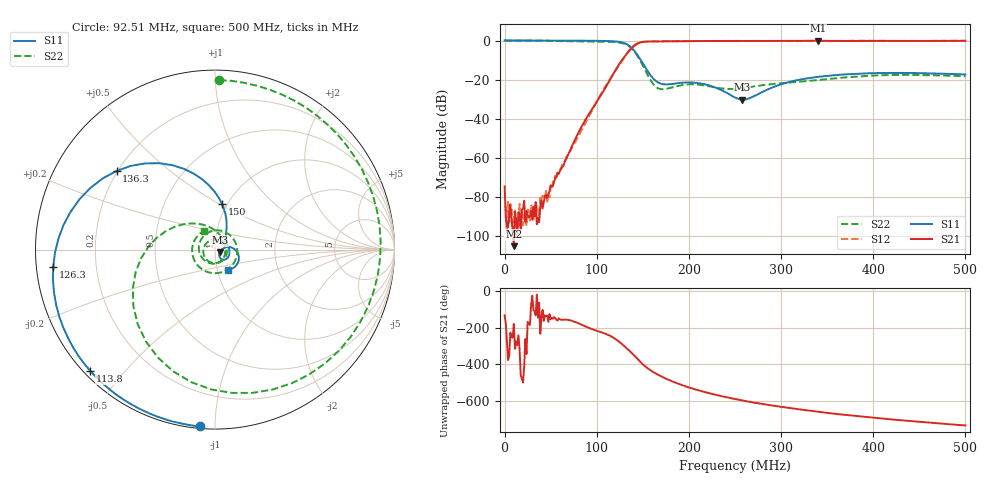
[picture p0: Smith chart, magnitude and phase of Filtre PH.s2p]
! ZVRE, 3.52
! symbol freq-unit parameter-type data-format keyword impedance-ohm
#  HZ  S  RI  R  50
! freq  reS11  imS11  reS21  imS21  reS12  imS12  reS22  imS22
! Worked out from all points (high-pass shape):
!   401 points, 9 kHz to 500 MHz, reference 50 ohm
!   highest |S21| = -0.09 dB at 340 MHz (marker M1); lowest = -105.5 dB at 10.01 MHz (marker M2)
!   |S21| within 3 dB of the highest: 139.9 MHz to end of sweep
!   lowest |S11| = -30.4 dB at 257.5 MHz (marker M3), VSWR 1.06, Z = 52.7 - j1.57 ohm
!   |S11| at or under -10 dB: 147.7 MHz to end of sweep
!   |S22| runs from -25.0 to 0.0 dB; largest |S21 - S12| = 0.037
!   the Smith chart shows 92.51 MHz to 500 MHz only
!   S11 on the Smith chart (normalised r, x): 92.51 MHz: 0.01, -0.92; 113.8 MHz: 0.02, -0.41; 126.3 MHz: 0.05, -0.05; 136.3 MHz: 0.20, +0.34; 150 MHz: 0.94, +0.52; 500 MHz: 1.13, -0.26
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9000  1.004 -0.00601  -0.000123 -0.000133  2.74e-06 5.42e-05  1.001 0.0021
1.000882e7  0.9893 -0.1465  -5.33e-06 -2.9e-08  1.43e-05 3.44e-05  0.8903 -0.4504
2.625853e7  0.9238 -0.3804  -2.86e-05 -1.38e-06  -2.88e-05 -3.16e-05  0.3241 -0.9372
4.000828e7  0.8206 -0.5691  -5.87e-05 -5.45e-05  -7.65e-05 -4.2e-05  -0.3249 -0.9304
4.875812e7  0.7298 -0.6801  -8.1e-05 -0.000108  -6.92e-05 -6.52e-05  -0.6841 -0.6998
6.250788e7  0.5432 -0.8349  -0.000522 -0.000221  -0.00063 -0.000189  -0.9636 -0.0822
8.375749e7  0.1329 -0.982  -0.00636 0.000527  -0.00514 0.000444  -0.4453 0.8402
9.250734e7  -0.0836 -0.9852  -0.0131 0.00565  -0.0122 0.00342  0.0249 0.9446
1.025072e8  -0.364 -0.9132  -0.0249 0.0219  -0.0285 0.0199  0.5676 0.747
1.13757e8  -0.694 -0.6769  -0.0428 0.0826  -0.0417 0.0881  0.917 0.1305
1.262567e8  -0.9014 -0.0948  0.0737 0.2799  0.0637 0.2681  0.5252 -0.6952
1.362565e8  -0.5476 0.4385  0.4976 0.2912  0.5074 0.3251  -0.3176 -0.6019
1.437564e8  -0.1168 0.4223  0.8085 -0.1181  0.8324 -0.1394  -0.4121 -0.0489
1.500063e8  0.0383 0.2559  0.7122 -0.584  0.7016 -0.5965  -0.1787 0.1407
1.67506e8  0.0596 0.0559  -0.1468 -0.9401  -0.1452 -0.9423  0.0542 0.0219
2.012554e8  0.0739 -0.0407  -0.9438 -0.2165  -0.9451 -0.2168  -0.003 -0.0755
2.500045e8  0.0235 -0.0253  -0.655 0.7294  -0.649 0.7295  0.0174 0.055
2.575044e8  0.0264 -0.0149  -0.5557 0.8104  -0.5501 0.8049  0.045 0.0397
3.33753e8  0.1118 -0.000477  0.3909 0.906  0.3905 0.8935  -0.0842 0.0412
3.400029e8  0.1169 -0.00523  0.4557 0.878  0.4468 0.8635  -0.0698 0.067
4.175015e8  0.126 -0.0766  0.9049 0.3664  0.9049 0.3679  0.0724 -0.1084
5e8  0.0727 -0.1131  0.9619 -0.1998  0.9647 -0.1949  -0.0591 0.1049
